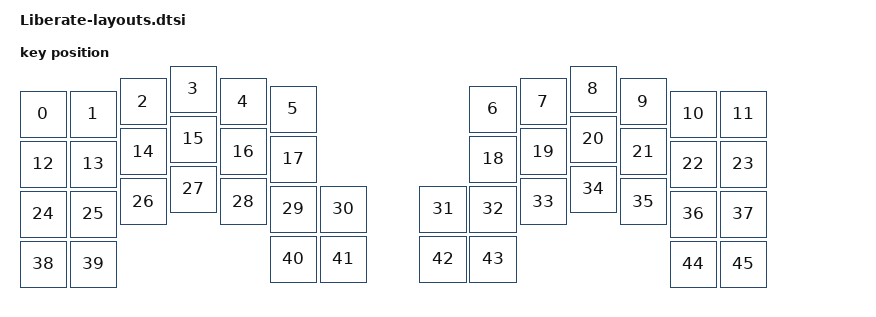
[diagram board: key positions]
#include <physical_layouts.dtsi>

/ {
    liberate_physical_layout: liberate_physical_layout {
        compatible = "zmk,physical-layout";
        display-name = "Liberate";

        kscan = <&kscan0>;
        transform = <&matrix_transform0>;

        keys  //                     w   h    x    y     rot    rx    ry
            = <&key_physical_attrs 100 100    0   50       0     0     0>
            , <&key_physical_attrs 100 100  100   50       0     0     0>
            , <&key_physical_attrs 100 100  200   25       0     0     0>
            , <&key_physical_attrs 100 100  300    0       0     0     0>
            , <&key_physical_attrs 100 100  400   25       0     0     0>
            , <&key_physical_attrs 100 100  500   40       0     0     0>
            , <&key_physical_attrs 100 100  900   40       0     0     0>
            , <&key_physical_attrs 100 100 1000   25       0     0     0>
            , <&key_physical_attrs 100 100 1100    0       0     0     0>
            , <&key_physical_attrs 100 100 1200   25       0     0     0>
            , <&key_physical_attrs 100 100 1300   50       0     0     0>
            , <&key_physical_attrs 100 100 1400   50       0     0     0>
            , <&key_physical_attrs 100 100    0  150       0     0     0>
            , <&key_physical_attrs 100 100  100  150       0     0     0>
            , <&key_physical_attrs 100 100  200  125       0     0     0>
            , <&key_physical_attrs 100 100  300  100       0     0     0>
            , <&key_physical_attrs 100 100  400  125       0     0     0>
            , <&key_physical_attrs 100 100  500  140       0     0     0>
            , <&key_physical_attrs 100 100  900  140       0     0     0>
            , <&key_physical_attrs 100 100 1000  125       0     0     0>
            , <&key_physical_attrs 100 100 1100  100       0     0     0>
            , <&key_physical_attrs 100 100 1200  125       0     0     0>
            , <&key_physical_attrs 100 100 1300  150       0     0     0>
            , <&key_physical_attrs 100 100 1400  150       0     0     0>
            , <&key_physical_attrs 100 100    0  250       0     0     0>
            , <&key_physical_attrs 100 100  100  250       0     0     0>
            , <&key_physical_attrs 100 100  200  225       0     0     0>
            , <&key_physical_attrs 100 100  300  200       0     0     0>
            , <&key_physical_attrs 100 100  400  225       0     0     0>
            , <&key_physical_attrs 100 100  500  240       0     0     0>
            , <&key_physical_attrs 100 100  600  240       0     0     0>
            , <&key_physical_attrs 100 100  800  240       0     0     0>
            , <&key_physical_attrs 100 100  900  240       0     0     0>
            , <&key_physical_attrs 100 100 1000  225       0     0     0>
            , <&key_physical_attrs 100 100 1100  200       0     0     0>
            , <&key_physical_attrs 100 100 1200  225       0     0     0>
            , <&key_physical_attrs 100 100 1300  250       0     0     0>
            , <&key_physical_attrs 100 100 1400  250       0     0     0>
            , <&key_physical_attrs 100 100    0  350       0     0     0>
            , <&key_physical_attrs 100 100  100  350       0     0     0>
            , <&key_physical_attrs 100 100  500  340       0     0     0>
            , <&key_physical_attrs 100 100  600  340       0     0     0>
            , <&key_physical_attrs 100 100  800  340       0     0     0>
            , <&key_physical_attrs 100 100  900  340       0     0     0>
            , <&key_physical_attrs 100 100 1300  350       0     0     0>
            , <&key_physical_attrs 100 100 1400  350       0     0     0>
            ;
    };

/ {
    chosen {
        zmk,physical-layout = &liberate_physical_layout ;
        // Other chosen items
    };
};
